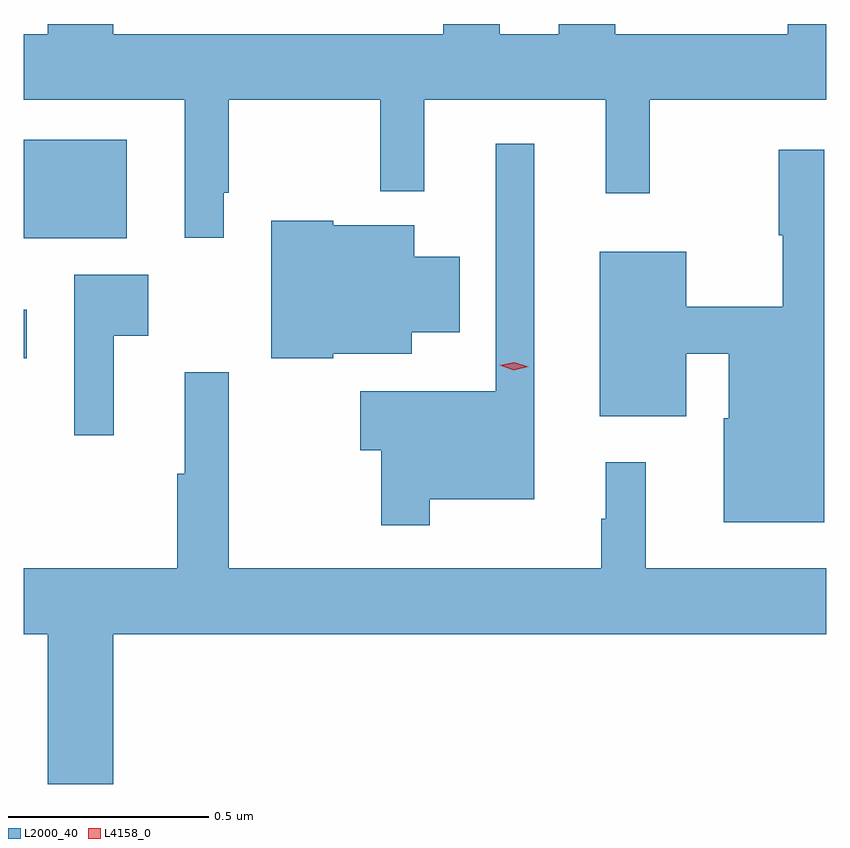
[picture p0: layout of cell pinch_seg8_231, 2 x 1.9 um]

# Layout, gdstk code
import gdstk
lib = gdstk.Library(unit=1e-6, precision=1e-09)
def R(c, l, rs):  # rectangles x0, y0, x1, y1
    for r in rs: c.add(gdstk.rectangle(r[:2], r[2:], *l))
def P(c, l, *ps):  # polygons
    for p in ps: c.add(gdstk.Polygon(p, *l))
L2000_40 = (2000, 40)
L4158_0 = (4158, 0)

pinch_seg8_231 = lib.new_cell('pinch_seg8_231')
R(pinch_seg8_231, L2000_40, [(632.481,1117.187,632.488,1117.309), (632.481,1117.487,632.737,1117.732)])
P(pinch_seg8_231, L2000_40, [(632.704,1118.021),(632.54,1118.021),(632.54,1117.996),(632.481,1117.996),(632.481,1117.832),(632.882,1117.832),(632.882,1117.488),(632.979,1117.488),(632.979,1117.6),(632.992,1117.6),(632.992,1117.832),(633.369,1117.832),(633.369,1117.604),(633.479,1117.604),(633.479,1117.832),(633.932,1117.832),(633.932,1117.599),(634.042,1117.599),(634.042,1117.832),(634.481,1117.832),(634.481,1118.021),(634.385,1118.021),(634.385,1117.996),(633.955,1117.996),(633.955,1118.021),(633.815,1118.021),(633.815,1117.996),(633.667,1117.996),(633.667,1118.021),(633.527,1118.021),(633.527,1117.996),(632.704,1117.996)],
  [(633.493,1116.836),(633.754,1116.836),(633.754,1117.723),(633.657,1117.723),(633.657,1117.105),(633.32,1117.105),(633.32,1116.958),(633.372,1116.958),(633.372,1116.771),(633.493,1116.771)],
  [(634.477,1117.708),(634.363,1117.708),(634.363,1117.494),(634.373,1117.494),(634.373,1117.316),(634.132,1117.316),(634.132,1117.453),(633.917,1117.453),(633.917,1117.043),(634.132,1117.043),(634.132,1117.199),(634.238,1117.199),(634.238,1117.038),(634.226,1117.038),(634.226,1116.779),(634.477,1116.779)],
  [(633.252,1117.199),(633.448,1117.199),(633.448,1117.253),(633.568,1117.253),(633.568,1117.441),(633.454,1117.441),(633.454,1117.519),(633.252,1117.519),(633.252,1117.531),(633.098,1117.531),(633.098,1117.187),(633.252,1117.187)],
  [(632.705,1117.244),(632.791,1117.244),(632.791,1117.396),(632.607,1117.396),(632.607,1116.996),(632.705,1116.996)],
  [(632.704,1116.5),(634.481,1116.5),(634.481,1116.664),(634.031,1116.664),(634.031,1116.928),(633.932,1116.928),(633.932,1116.788),(633.921,1116.788),(633.921,1116.664),(632.992,1116.664),(632.992,1117.153),(632.882,1117.153),(632.882,1116.9),(632.863,1116.9),(632.863,1116.664),(632.481,1116.664),(632.481,1116.5),(632.54,1116.5),(632.54,1116.126),(632.704,1116.126)])
P(pinch_seg8_231, L4158_0, [(633.702,1117.158),(633.668,1117.17),(633.667,1117.17),(633.668,1117.17),(633.703,1117.178),(633.738,1117.167),(633.738,1117.167),(633.738,1117.167)])

lib.write_gds('pinch_seg8_231.gds')
